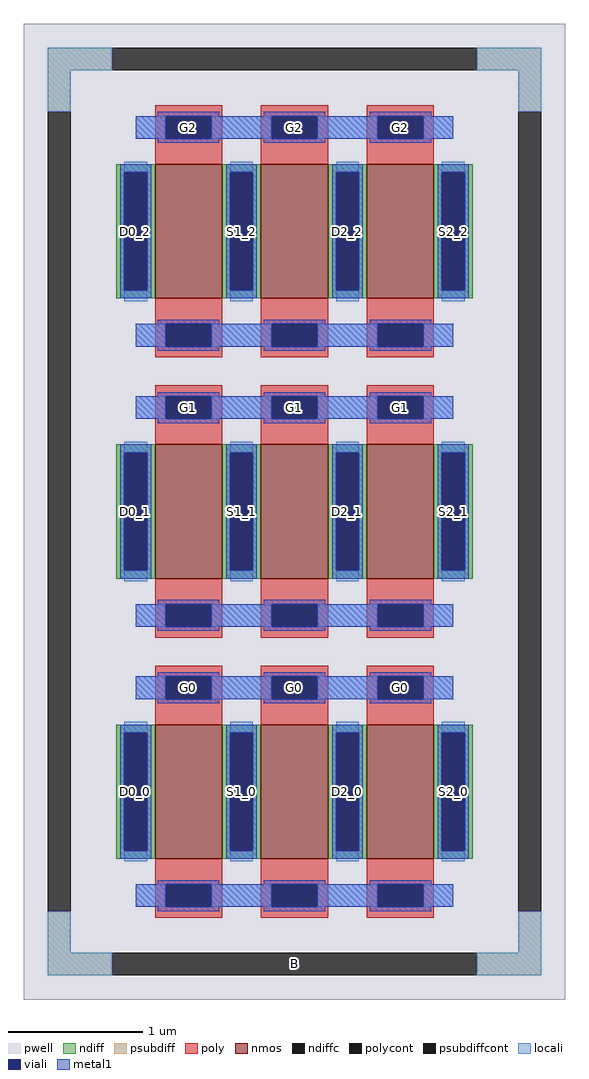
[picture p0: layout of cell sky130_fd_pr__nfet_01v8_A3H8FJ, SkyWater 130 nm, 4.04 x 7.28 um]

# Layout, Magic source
magic
tech sky130A
magscale 1 2
<< pwell >>
rect -404 -728 404 728
<< nmos >>
rect -208 318 -108 518
rect -50 318 50 518
rect 108 318 208 518
rect -208 -100 -108 100
rect -50 -100 50 100
rect 108 -100 208 100
rect -208 -518 -108 -318
rect -50 -518 50 -318
rect 108 -518 208 -318
<< ndiff >>
rect -266 506 -208 518
rect -266 330 -254 506
rect -220 330 -208 506
rect -266 318 -208 330
rect -108 506 -50 518
rect -108 330 -96 506
rect -62 330 -50 506
rect -108 318 -50 330
rect 50 506 108 518
rect 50 330 62 506
rect 96 330 108 506
rect 50 318 108 330
rect 208 506 266 518
rect 208 330 220 506
rect 254 330 266 506
rect 208 318 266 330
rect -266 88 -208 100
rect -266 -88 -254 88
rect -220 -88 -208 88
rect -266 -100 -208 -88
rect -108 88 -50 100
rect -108 -88 -96 88
rect -62 -88 -50 88
rect -108 -100 -50 -88
rect 50 88 108 100
rect 50 -88 62 88
rect 96 -88 108 88
rect 50 -100 108 -88
rect 208 88 266 100
rect 208 -88 220 88
rect 254 -88 266 88
rect 208 -100 266 -88
rect -266 -330 -208 -318
rect -266 -506 -254 -330
rect -220 -506 -208 -330
rect -266 -518 -208 -506
rect -108 -330 -50 -318
rect -108 -506 -96 -330
rect -62 -506 -50 -330
rect -108 -518 -50 -506
rect 50 -330 108 -318
rect 50 -506 62 -330
rect 96 -506 108 -330
rect 50 -518 108 -506
rect 208 -330 266 -318
rect 208 -506 220 -330
rect 254 -506 266 -330
rect 208 -518 266 -506
<< ndiffc >>
rect -254 330 -220 506
rect -96 330 -62 506
rect 62 330 96 506
rect 220 330 254 506
rect -254 -88 -220 88
rect -96 -88 -62 88
rect 62 -88 96 88
rect 220 -88 254 88
rect -254 -506 -220 -330
rect -96 -506 -62 -330
rect 62 -506 96 -330
rect 220 -506 254 -330
<< psubdiff >>
rect -368 658 -272 692
rect 272 658 368 692
rect -368 596 -334 658
rect 334 596 368 658
rect -368 -658 -334 -596
rect 334 -658 368 -596
rect -368 -692 -272 -658
rect 272 -692 368 -658
<< psubdiffcont >>
rect -272 658 272 692
rect -368 -596 -334 596
rect 334 -596 368 596
rect -272 -692 272 -658
<< poly >>
rect -208 590 -108 606
rect -208 556 -192 590
rect -124 556 -108 590
rect -208 518 -108 556
rect -50 590 50 606
rect -50 556 -34 590
rect 34 556 50 590
rect -50 518 50 556
rect 108 590 208 606
rect 108 556 124 590
rect 192 556 208 590
rect 108 518 208 556
rect -208 280 -108 318
rect -208 246 -192 280
rect -124 246 -108 280
rect -208 230 -108 246
rect -50 280 50 318
rect -50 246 -34 280
rect 34 246 50 280
rect -50 230 50 246
rect 108 280 208 318
rect 108 246 124 280
rect 192 246 208 280
rect 108 230 208 246
rect -208 172 -108 188
rect -208 138 -192 172
rect -124 138 -108 172
rect -208 100 -108 138
rect -50 172 50 188
rect -50 138 -34 172
rect 34 138 50 172
rect -50 100 50 138
rect 108 172 208 188
rect 108 138 124 172
rect 192 138 208 172
rect 108 100 208 138
rect -208 -138 -108 -100
rect -208 -172 -192 -138
rect -124 -172 -108 -138
rect -208 -188 -108 -172
rect -50 -138 50 -100
rect -50 -172 -34 -138
rect 34 -172 50 -138
rect -50 -188 50 -172
rect 108 -138 208 -100
rect 108 -172 124 -138
rect 192 -172 208 -138
rect 108 -188 208 -172
rect -208 -246 -108 -230
rect -208 -280 -192 -246
rect -124 -280 -108 -246
rect -208 -318 -108 -280
rect -50 -246 50 -230
rect -50 -280 -34 -246
rect 34 -280 50 -246
rect -50 -318 50 -280
rect 108 -246 208 -230
rect 108 -280 124 -246
rect 192 -280 208 -246
rect 108 -318 208 -280
rect -208 -556 -108 -518
rect -208 -590 -192 -556
rect -124 -590 -108 -556
rect -208 -606 -108 -590
rect -50 -556 50 -518
rect -50 -590 -34 -556
rect 34 -590 50 -556
rect -50 -606 50 -590
rect 108 -556 208 -518
rect 108 -590 124 -556
rect 192 -590 208 -556
rect 108 -606 208 -590
<< polycont >>
rect -192 556 -124 590
rect -34 556 34 590
rect 124 556 192 590
rect -192 246 -124 280
rect -34 246 34 280
rect 124 246 192 280
rect -192 138 -124 172
rect -34 138 34 172
rect 124 138 192 172
rect -192 -172 -124 -138
rect -34 -172 34 -138
rect 124 -172 192 -138
rect -192 -280 -124 -246
rect -34 -280 34 -246
rect 124 -280 192 -246
rect -192 -590 -124 -556
rect -34 -590 34 -556
rect 124 -590 192 -556
<< locali >>
rect -368 658 -272 692
rect 272 658 368 692
rect -368 596 -334 658
rect 334 596 368 658
rect -237 556 -192 590
rect -124 556 -34 590
rect 34 556 124 590
rect 192 556 237 590
rect -254 506 -220 522
rect -254 314 -220 330
rect -96 506 -62 522
rect -96 314 -62 330
rect 62 506 96 522
rect 62 314 96 330
rect 220 506 254 522
rect 220 314 254 330
rect -237 246 -192 280
rect -124 246 -34 280
rect 34 246 124 280
rect 192 246 237 280
rect -237 138 -192 172
rect -124 138 -34 172
rect 34 138 124 172
rect 192 138 237 172
rect -254 88 -220 104
rect -254 -104 -220 -88
rect -96 88 -62 104
rect -96 -104 -62 -88
rect 62 88 96 104
rect 62 -104 96 -88
rect 220 88 254 104
rect 220 -104 254 -88
rect -237 -172 -192 -138
rect -124 -172 -34 -138
rect 34 -172 124 -138
rect 192 -172 237 -138
rect -237 -280 -192 -246
rect -124 -280 -34 -246
rect 34 -280 124 -246
rect 192 -280 237 -246
rect -254 -330 -220 -314
rect -254 -522 -220 -506
rect -96 -330 -62 -314
rect -96 -522 -62 -506
rect 62 -330 96 -314
rect 62 -522 96 -506
rect 220 -330 254 -314
rect 220 -522 254 -506
rect -237 -590 -192 -556
rect -124 -590 -34 -556
rect 34 -590 124 -556
rect 192 -590 237 -556
rect -368 -658 -334 -596
rect 334 -658 368 -596
rect -368 -692 -272 -658
rect 272 -692 368 -658
<< viali >>
rect -192 556 -124 590
rect -34 556 34 590
rect 124 556 192 590
rect -254 330 -220 506
rect -96 330 -62 506
rect 62 330 96 506
rect 220 330 254 506
rect -192 246 -124 280
rect -34 246 34 280
rect 124 246 192 280
rect -192 138 -124 172
rect -34 138 34 172
rect 124 138 192 172
rect -254 -88 -220 88
rect -96 -88 -62 88
rect 62 -88 96 88
rect 220 -88 254 88
rect -192 -172 -124 -138
rect -34 -172 34 -138
rect 124 -172 192 -138
rect -192 -280 -124 -246
rect -34 -280 34 -246
rect 124 -280 192 -246
rect -254 -506 -220 -330
rect -96 -506 -62 -330
rect 62 -506 96 -330
rect 220 -506 254 -330
rect -192 -590 -124 -556
rect -34 -590 34 -556
rect 124 -590 192 -556
<< metal1 >>
rect -204 590 -112 596
rect -46 590 46 596
rect 112 590 204 596
rect -237 556 -192 590
rect -124 556 -34 590
rect 34 556 124 590
rect 192 556 237 590
rect -204 550 -112 556
rect -46 550 46 556
rect 112 550 204 556
rect -260 506 -214 518
rect -260 330 -254 506
rect -220 330 -214 506
rect -260 318 -214 330
rect -102 506 -56 518
rect -102 330 -96 506
rect -62 330 -56 506
rect -102 318 -56 330
rect 56 506 102 518
rect 56 330 62 506
rect 96 330 102 506
rect 56 318 102 330
rect 214 506 260 518
rect 214 330 220 506
rect 254 330 260 506
rect 214 318 260 330
rect -204 280 -112 286
rect -46 280 46 286
rect 112 280 204 286
rect -237 246 -192 280
rect -124 246 -34 280
rect 34 246 124 280
rect 192 246 237 280
rect -204 240 -112 246
rect -46 240 46 246
rect 112 240 204 246
rect -204 172 -112 178
rect -46 172 46 178
rect 112 172 204 178
rect -237 138 -192 172
rect -124 138 -34 172
rect 34 138 124 172
rect 192 138 237 172
rect -204 132 -112 138
rect -46 132 46 138
rect 112 132 204 138
rect -260 88 -214 100
rect -260 -88 -254 88
rect -220 -88 -214 88
rect -260 -100 -214 -88
rect -102 88 -56 100
rect -102 -88 -96 88
rect -62 -88 -56 88
rect -102 -100 -56 -88
rect 56 88 102 100
rect 56 -88 62 88
rect 96 -88 102 88
rect 56 -100 102 -88
rect 214 88 260 100
rect 214 -88 220 88
rect 254 -88 260 88
rect 214 -100 260 -88
rect -204 -138 -112 -132
rect -46 -138 46 -132
rect 112 -138 204 -132
rect -237 -172 -192 -138
rect -124 -172 -34 -138
rect 34 -172 124 -138
rect 192 -172 237 -138
rect -204 -178 -112 -172
rect -46 -178 46 -172
rect 112 -178 204 -172
rect -204 -246 -112 -240
rect -46 -246 46 -240
rect 112 -246 204 -240
rect -237 -280 -192 -246
rect -124 -280 -34 -246
rect 34 -280 124 -246
rect 192 -280 237 -246
rect -204 -286 -112 -280
rect -46 -286 46 -280
rect 112 -286 204 -280
rect -260 -330 -214 -318
rect -260 -506 -254 -330
rect -220 -506 -214 -330
rect -260 -518 -214 -506
rect -102 -330 -56 -318
rect -102 -506 -96 -330
rect -62 -506 -56 -330
rect -102 -518 -56 -506
rect 56 -330 102 -318
rect 56 -506 62 -330
rect 96 -506 102 -330
rect 56 -518 102 -506
rect 214 -330 260 -318
rect 214 -506 220 -330
rect 254 -506 260 -330
rect 214 -518 260 -506
rect -204 -556 -112 -550
rect -46 -556 46 -550
rect 112 -556 204 -550
rect -237 -590 -192 -556
rect -124 -590 -34 -556
rect 34 -590 124 -556
rect 192 -590 237 -556
rect -204 -596 -112 -590
rect -46 -596 46 -590
rect 112 -596 204 -590
<< labels >>
rlabel psubdiffcont 0 -675 0 -675 0 B
port 17 nsew
rlabel ndiffc -237 -418 -237 -418 0 D0_0
port 18 nsew
rlabel polycont -158 -263 -158 -263 0 G0
port 3 nsew
rlabel ndiffc -237 0 -237 0 0 D0_1
port 19 nsew
rlabel polycont -158 155 -158 155 0 G1
port 5 nsew
rlabel ndiffc -237 418 -237 418 0 D0_2
port 20 nsew
rlabel polycont -158 573 -158 573 0 G2
port 7 nsew
rlabel ndiffc -79 -418 -79 -418 0 S1_0
port 21 nsew
rlabel polycont 0 -263 0 -263 0 G0
port 3 nsew
rlabel ndiffc -79 0 -79 0 0 S1_1
port 22 nsew
rlabel polycont 0 155 0 155 0 G1
port 5 nsew
rlabel ndiffc -79 418 -79 418 0 S1_2
port 23 nsew
rlabel polycont 0 573 0 573 0 G2
port 7 nsew
rlabel ndiffc 79 -418 79 -418 0 D2_0
port 24 nsew
rlabel ndiffc 237 -418 237 -418 0 S2_0
port 25 nsew
rlabel polycont 158 -263 158 -263 0 G0
port 3 nsew
rlabel ndiffc 79 0 79 0 0 D2_1
port 26 nsew
rlabel ndiffc 237 0 237 0 0 S2_1
port 27 nsew
rlabel polycont 158 155 158 155 0 G1
port 5 nsew
rlabel ndiffc 79 418 79 418 0 D2_2
port 28 nsew
rlabel ndiffc 237 418 237 418 0 S2_2
port 29 nsew
rlabel polycont 158 573 158 573 0 G2
port 7 nsew
<< properties >>
string FIXED_BBOX -351 -675 351 675
string gencell sky130_fd_pr__nfet_01v8
string library sky130
string parameters w 1 l 0.5 m 3 nf 3 diffcov 100 polycov 100 guard 1 glc 1 grc 1 gtc 1 gbc 1 tbcov 100 rlcov 100 topc 1 botc 1 poverlap 0 doverlap 1 lmin 0.15 wmin 0.42 class mosfet compatible {sky130_fd_pr__nfet_01v8 sky130_fd_pr__nfet_01v8_lvt  sky130_fd_bs_flash__special_sonosfet_star  sky130_fd_pr__nfet_g5v0d10v5 sky130_fd_pr__nfet_05v0_nvt  sky130_fd_pr__nfet_03v3_nvt} full_metal 1 conn_gates 1 viasrc 100 viadrn 100 viagate 100 viagb 0 viagr 0 viagl 0 viagt 0 doports 1
<< end >>
